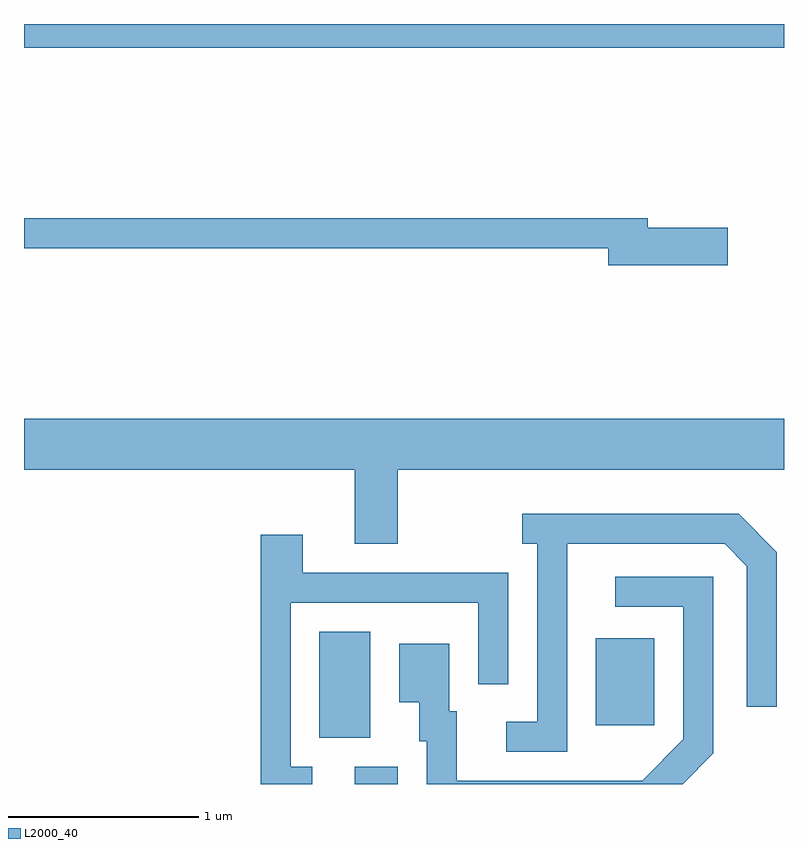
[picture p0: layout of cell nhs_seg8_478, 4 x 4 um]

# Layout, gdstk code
import gdstk
lib = gdstk.Library(unit=1e-6, precision=1e-09)
def R(c, l, rs):  # rectangles x0, y0, x1, y1
    for r in rs: c.add(gdstk.rectangle(r[:2], r[2:], *l))
def P(c, l, *ps):  # polygons
    for p in ps: c.add(gdstk.Polygon(p, *l))
L2000_40 = (2000, 40)

nhs_seg8_478 = lib.new_cell('nhs_seg8_478')
R(nhs_seg8_478, L2000_40, [(201.351,1810.342,201.579,1810.434), (201.166,1810.586,201.434,1811.144), (202.621,1810.651,202.929,1811.109), (199.611,1814.216,203.611,1814.342)])
P(nhs_seg8_478, L2000_40, [(203.314,1813.269),(202.894,1813.269),(202.894,1813.319),(199.611,1813.319),(199.611,1813.161),(202.686,1813.161),(202.686,1813.071),(203.314,1813.071)],
  [(201.579,1811.996),(203.611,1811.996),(203.611,1812.264),(199.611,1812.264),(199.611,1811.996),(201.351,1811.996),(201.351,1811.606),(201.579,1811.606)],
  [(202.469,1811.606),(203.299,1811.606),(203.416,1811.489),(203.416,1810.748),(203.574,1810.748),(203.574,1811.562),(203.372,1811.764),(202.233,1811.764),(202.233,1811.606),(202.311,1811.606),(202.311,1810.669),(202.148,1810.669),(202.148,1810.511),(202.469,1810.511)],
  [(201.128,1810.434),(201.014,1810.434),(201.014,1811.296),(202.001,1811.296),(202.001,1810.868),(202.159,1810.868),(202.159,1811.454),(201.079,1811.454),(201.079,1811.654),(200.856,1811.654),(200.856,1810.342),(201.128,1810.342)],
  [(203.239,1810.504),(203.239,1811.434),(202.723,1811.434),(202.723,1811.276),(203.081,1811.276),(203.081,1810.577),(202.864,1810.359),(201.889,1810.359),(201.889,1810.724),(201.849,1810.724),(201.849,1811.079),(201.586,1811.079),(201.586,1810.771),(201.691,1810.771),(201.691,1810.566),(201.731,1810.566),(201.731,1810.342),(203.078,1810.342)])

lib.write_gds('nhs_seg8_478.gds')
